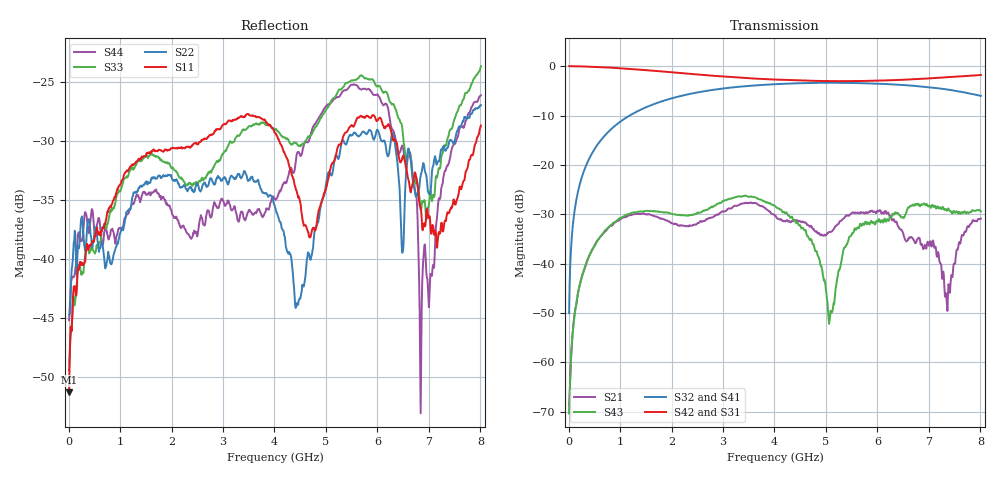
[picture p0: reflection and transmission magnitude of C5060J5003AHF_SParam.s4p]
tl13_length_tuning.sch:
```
<Qucs Schematic 0.0.20>
<Properties>
  <View=-733,-209,1579,1024,1.1,810,0>
  <Grid=10,10,1>
  <DataSet=tl13_length_tuning.dat>
  <DataDisplay=tl13_length_tuning.dpl>
  <OpenDisplay=1>
  <Script=tl13_length_tuning.m>
  <RunScript=1>
  <showFrame=0>
  <FrameText0=Title>
  <FrameText1=Drawn By:>
  <FrameText2=Date:>
  <FrameText3=Revision:>
</Properties>
<Symbol>
  <.ID -20 -16 SUB>
  <Line -20 20 40 0 #000080 2 1>
  <Line 20 20 0 -40 #000080 2 1>
  <Line -20 -20 40 0 #000080 2 1>
  <Line -20 20 0 -40 #000080 2 1>
</Symbol>
<Components>
  <C C1 1 190 480 -32 -72 0 0 "100 pF" 1 "" 0 "neutral" 0>
  <C C2 1 190 690 -26 17 0 0 "100 pF" 1 "" 0 "neutral" 0>
  <GND * 5 120 830 0 0 0 0>
  <GND * 5 60 600 0 0 0 0>
  <GND * 5 750 590 0 0 0 0>
  <GND * 5 750 790 0 0 0 0>
  <Pac P1 1 60 540 18 -26 0 1 "1" 1 "50 Ohm" 1 "0 dBm" 0 "2.45 GHz" 0 "26.85" 0>
  <Pac P2 1 120 770 18 -26 0 1 "2" 1 "50 Ohm" 1 "-100 dBm" 0 "2.45 GHz" 0 "26.85" 0>
  <GND * 5 480 630 0 0 0 0>
  <Vdc V1 1 410 380 -95 -25 0 1 "v_bias" 1>
  <GND * 5 410 430 0 0 0 0>
  <TLIN Line3 1 640 690 -26 20 0 0 "z_tl13" 1 "tl_length" 1 "0 dB" 0 "26.85" 0>
  <TLIN Line1 1 640 480 -26 20 0 0 "z_tl13" 1 "tl_length" 1 "0 dB" 0 "26.85" 0>
  <TLIN Line2 1 830 480 -26 20 0 0 "z_tl24" 1 "custom_length" 1 "0 dB" 0 "26.85" 0>
  <TLIN Line4 1 830 690 -26 20 0 0 "z_tl24" 1 "custom_length" 1 "0 dB" 0 "26.85" 0>
  <L L2 1 452 398 10 -26 0 1 "220 nH" 1 "" 0>
  <L L1 1 550 400 10 -26 0 1 "220 nH" 1 "" 0>
  <SUBST Subst1 1 50 -40 -30 24 0 0 "4.5" 1 "0.6 mm" 1 "35 um" 1 "0.03" 1 "0.022e-6" 1 "2.388e-3" 1>
  <.DC DC1 1 390 -80 0 46 0 0 "26.85" 0 "0.001" 0 "1 pA" 0 "1 uV" 0 "no" 0 "150" 0 "no" 0 "none" 0 "CroutLU" 0>
  <.SW SW1 1 780 -80 0 78 0 0 "SW2" 1 "lin" 1 "v_bias" 1 "0 V" 1 "3.3 V" 1 "111" 1>
  <Eqn Eqn1 1 1130 -70 -31 19 0 0 "phase_shift=rad2deg(angle(out.v) - angle(in.v))" 1 "attenuation=dB(mag(out.v)/mag(in.v))" 1 "yes" 0>
  <.SP SP1 0 930 -80 0 78 0 0 "lin" 1 "5.725 GHz" 1 "5.875 GHz" 1 "1001" 1 "no" 0 "1" 0 "2" 0 "no" 0 "no" 0>
  <Eqn S_param_db_calc 0 960 140 -31 19 0 0 "dBS11=dB(S[1,1])" 1 "dBS12=dB(S[1,2])" 1 "dBS21=dB(S[2,1])" 1 "dBS22=dB(S[2,2])" 1 "yes" 0>
  <GND * 5 990 590 0 0 0 0>
  <GND * 5 990 790 0 0 0 0>
  <.AC AC1 1 390 10 0 46 0 0 "lin" 1 "5.725 GHz" 1 "5.875 GHz" 1 "3" 1 "no" 0>
  <SPfile X8 1 380 580 -117 118 1 3 "./sim_lib/C5060J5003AHF_SParam.s4p" 1 "rectangular" 0 "linear" 0 "unspecified" 0 "4" 0>
  <Eqn Transmission_line_params 1 190 -80 -31 19 0 0 "z_tl24=18" 1 "z_tl13=60" 1 "yes" 0>
  <Sub SUB1 1 750 540 -15 -123 0 1 "SMV1763-079LF.sch" 1>
  <Sub SUB3 1 990 530 19 -18 0 1 "SMV1763-079LF.sch" 1>
  <Sub SUB2 1 750 740 -16 82 0 1 "SMV1763-079LF.sch" 1>
  <Sub SUB4 1 990 740 21 -17 0 1 "SMV1763-079LF.sch" 1>
  <Eqn TL_length 1 190 120 -31 19 0 0 "center_freq=5.8e+9" 1 "c0=299792458" 1 "wavelength=c0/center_freq" 1 "tl_length=frac_of_lambda*wavelength" 1 "quarter_wavelength=0.25*wavelength" 1 "custom_length=0.25*wavelength" 1 "yes" 0>
  <.SW SW2 1 580 -80 0 78 0 0 "AC1" 1 "lin" 1 "frac_of_lambda" 1 "0.2" 1 "0.45" 1 "11" 1>
</Components>
<Wires>
  <750 480 750 520 "" 0 0 0 "">
  <750 570 750 590 "" 0 0 0 "">
  <750 770 750 790 "" 0 0 0 "">
  <750 690 750 720 "" 0 0 0 "">
  <60 570 60 600 "" 0 0 0 "">
  <60 480 160 480 "in" 30 440 0 "">
  <60 480 60 510 "" 0 0 0 "">
  <120 800 120 830 "" 0 0 0 "">
  <120 690 160 690 "" 0 0 0 "">
  <120 690 120 740 "" 0 0 0 "">
  <480 580 480 630 "" 0 0 0 "">
  <440 580 480 580 "" 0 0 0 "">
  <410 610 410 690 "" 0 0 0 "">
  <410 480 410 550 "" 0 0 0 "">
  <220 690 350 690 "" 0 0 0 "">
  <350 610 350 690 "" 0 0 0 "">
  <220 480 350 480 "" 0 0 0 "">
  <350 480 350 550 "" 0 0 0 "">
  <410 330 452 330 "" 0 0 0 "">
  <410 410 410 430 "" 0 0 0 "">
  <410 330 410 350 "" 0 0 0 "">
  <410 480 452 480 "" 0 0 0 "">
  <410 690 550 690 "" 0 0 0 "">
  <750 480 800 480 "" 0 0 0 "">
  <670 690 750 690 "" 0 0 0 "">
  <750 690 800 690 "" 0 0 0 "">
  <670 480 750 480 "" 0 0 0 "">
  <452 330 452 368 "" 0 0 0 "">
  <452 480 610 480 "" 0 0 0 "">
  <452 428 452 480 "" 0 0 0 "">
  <452 330 550 330 "" 0 0 0 "">
  <550 330 550 370 "" 0 0 0 "">
  <550 690 610 690 "" 0 0 0 "">
  <550 430 550 690 "" 0 0 0 "">
  <860 690 990 690 "" 0 0 0 "">
  <860 480 990 480 "" 0 0 0 "">
  <990 560 990 590 "" 0 0 0 "">
  <990 770 990 790 "" 0 0 0 "">
  <990 480 990 510 "" 0 0 0 "">
  <990 690 990 720 "" 0 0 0 "">
  <120 690 120 690 "out" 80 650 0 "">
  <550 330 550 330 "bias" 560 290 0 "">
</Wires>
<Diagrams>
</Diagrams>
<Paintings>
</Paintings>
```
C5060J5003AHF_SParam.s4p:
! Port 1 = Pin 1 = Input
! Port 2 = Pin 3 = Isolated Port
! Port 3 = Pin 4 = Direct Port
! Port 4 = Pin 6 = Coupled Port
# MHZ S DB R 50
!FREQ(MHz)  !S11dB  !S11deg  !S12dB  !S12deg  !S13dB  !S13deg  !S14dB  !S14deg  !S21dB  !S21deg  !S22dB  !S22deg  !S23dB  !S23deg  !S24dB  !S24deg  !S31dB  !S31deg  !S32dB  !S32deg  !S33dB  !S33deg  !S34dB  !S34deg  !S41dB  !S41deg  !S42dB  !S42deg  !S43dB  !S43deg  !S44dB  !S44deg
!Freq  dBS11  angS11  dBS12  angS12  dBS13  angS13  dBS14  angS14
!  dBS21  angS21  dBS22  angS22  dBS23  angS23  dBS24  angS24
!  dBS31  angS31  dBS32  angS32  dBS33  angS33  dBS34  angS34
!  dBS41  angS41  dBS42  angS42  dBS43  angS43  dBS44  angS44
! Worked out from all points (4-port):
!   801 points, 10 MHz to 8.01 GHz, reference 50 ohm
!   strongest paths, dB at 10 MHz, 2.01 GHz, 4.01 GHz, 6.01 GHz, 8.01 GHz:
!     S42: 0.0, -1.2, -2.7, -2.9, -1.8
!     S31: 0.0, -1.3, -2.8, -3.0, -1.9
!     S32: -50.0, -6.5, -3.6, -3.5, -6.0
!     S41: -50.0, -6.5, -3.6, -3.6, -6.0
!     S43: -70.3, -29.9, -28.3, -31.5, -29.4
!     S21: -70.2, -31.8, -30.3, -29.3, -30.9
!   lowest |S11| = -51.3 dB at 10 MHz (marker M1), VSWR 1.01, Z = 50.3 + j0.0808 ohm
!   |S11| at or under -10 dB: start of sweep to end of sweep
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10  -51.26 17.1  -69.94 163.8  -0.01 -0.2  -50.04 84.5
    -70.19 168.0  -44.69 8.5  -50.07 84.2  0.01 -0.2
    -0.01 -0.3  -50.02 83.9  -49.39 21.4  -70.64 164.1
    -50.02 84.3  0.01 -0.2  -70.30 162.6  -45.15 11.4
1110  -32.59 -119.0  -30.76 39.9  -0.51 -29.3  -10.48 59.9
      -30.55 39.5  -36.43 -134.0  -10.48 59.9  -0.49 -29.3
      -0.51 -29.3  -10.48 59.9  -33.05 -112.4  -30.29 45.3
      -10.48 59.9  -0.49 -29.3  -30.20 45.3  -36.33 -98.0
8010  -28.65 -119.4  -33.50 113.8  -1.84 -158.4  -6.01 -64.9
      -30.87 107.0  -26.93 -151.8  -6.00 -64.2  -1.78 -158.9
      -1.86 -158.5  -6.01 -64.4  -23.62 -113.2  -29.54 172.7
      -6.01 -64.9  -1.78 -158.9  -29.40 154.9  -26.10 -123.9
